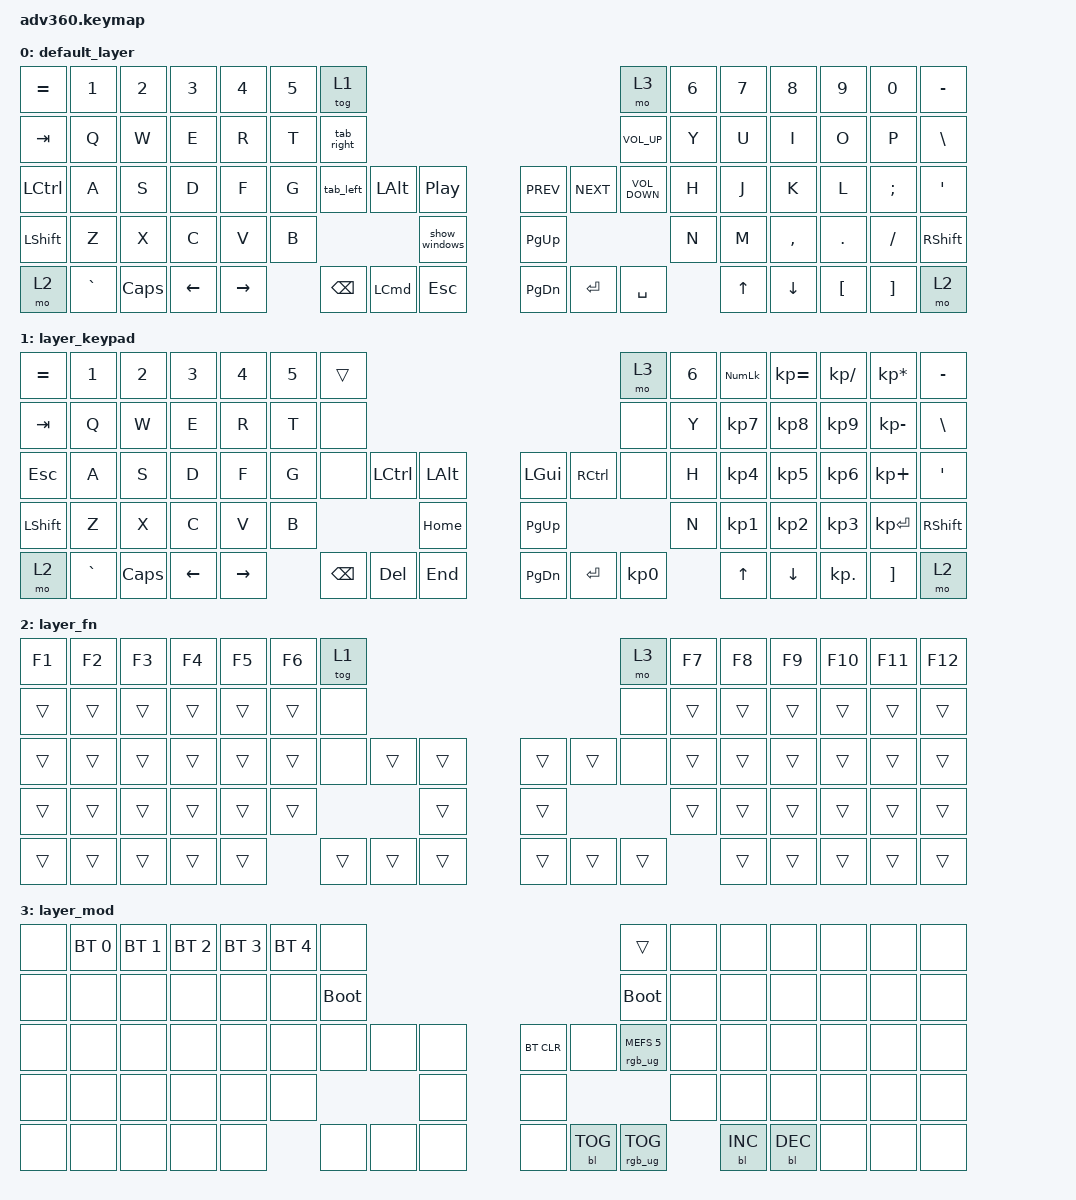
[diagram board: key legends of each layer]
/*
 * Copyright (c) 2020 The ZMK Contributors
 *
 * SPDX-License-Identifier: MIT
 */
/* THIS FILE WAS GENERATED!
 *
 * This file was generated automatically. You may or may not want to
 * edit it directly.
 */

#include <behaviors.dtsi>
#include <dt-bindings/zmk/backlight.h>
#include <dt-bindings/zmk/bt.h>
#include <dt-bindings/zmk/keys.h>
#include <dt-bindings/zmk/rgb.h>

/ {
    behaviors {
        #include "macros.dtsi"
    #include "version.dtsi"

        hm: homerow_mods {
            compatible = "zmk,behavior-hold-tap";
            label = "HOMEROW_MODS";
            #binding-cells = <2>;
            tapping-term-ms = <200>;
            quick_tap_ms = <175>;
            flavor = "tap-preferred";
            bindings = <&kp>, <&kp>;
        };
    };

    macros {
        tab_left: tab_left {
            compatible = "zmk,behavior-macro";
            #binding-cells = <0>;
            bindings =
                <&macro_press &kp LEFT_COMMAND &kp LEFT_SHIFT>,
                <&macro_tap &kp TAB>,
                <&macro_release &kp LEFT_COMMAND &kp LEFT_SHIFT>;

            label = "TAB_LEFT";
        };

        tab_right: tab_right {
            compatible = "zmk,behavior-macro";
            #binding-cells = <0>;
            bindings =
                <&macro_press &kp LEFT_COMMAND>,
                <&macro_tap &kp TAB>,
                <&macro_release &kp LEFT_COMMAND>;

            label = "TAB_RIGHT";
        };

        show_windows: show_windows {
            compatible = "zmk,behavior-macro";
            #binding-cells = <0>;
            bindings =
                <&macro_press &kp LEFT_CONTROL>,
                <&macro_tap &kp UP>,
                <&macro_release &kp LEFT_CONTROL>;

            label = "SHOW_WINDOWS";
        };
    };

    keymap {
        compatible = "zmk,keymap";

        default_layer {
            bindings = <
&kp EQUAL         &kp N1     &kp N2    &kp N3    &kp N4     &kp N5  &tog 1                                                                      &mo 3              &kp N6  &kp N7  &kp N8     &kp N9    &kp N0    &kp MINUS
&kp TAB           &kp Q      &kp W     &kp E     &kp R      &kp T   &tab_right                                                                  &kp C_VOL_UP       &kp Y   &kp U   &kp I      &kp O     &kp P     &kp BSLH
&kp LEFT_CONTROL  &kp A      &kp S     &kp D     &kp F      &kp G   &tab_left   &kp LEFT_ALT      &kp C_PLAY_PAUSE      &kp C_PREV  &kp C_NEXT  &kp C_VOLUME_DOWN  &kp H   &kp J   &kp K      &kp L     &kp SEMI  &kp SQT
&kp LSHFT         &kp Z      &kp X     &kp C     &kp V      &kp B                                 &show_windows         &kp PG_UP                                  &kp N   &kp M   &kp COMMA  &kp DOT   &kp FSLH  &kp RSHFT
&mo 2             &kp GRAVE  &kp CAPS  &kp LEFT  &kp RIGHT          &kp BSPC    &kp LEFT_COMMAND  &kp ESC               &kp PG_DN   &kp ENTER   &kp SPACE                  &kp UP  &kp DOWN   &kp LBKT  &kp RBKT  &mo 2
            >;
        };

        layer_keypad {
            bindings = <
&kp EQUAL  &kp N1     &kp N2    &kp N3    &kp N4     &kp N5  &trans                                                   &mo 3      &kp N6  &kp KP_NUM  &kp KP_EQUAL  &kp KP_DIVIDE  &kp KP_MULTIPLY  &kp MINUS
&kp TAB    &kp Q      &kp W     &kp E     &kp R      &kp T   &none                                                    &none      &kp Y   &kp KP_N7   &kp KP_N8     &kp KP_N9      &kp KP_MINUS     &kp BSLH
&kp ESC    &kp A      &kp S     &kp D     &kp F      &kp G   &none     &kp LCTRL  &kp LALT      &kp LGUI   &kp RCTRL  &none      &kp H   &kp KP_N4   &kp KP_N5     &kp KP_N6      &kp KP_PLUS      &kp SQT
&kp LSHFT  &kp Z      &kp X     &kp C     &kp V      &kp B                        &kp HOME      &kp PG_UP                        &kp N   &kp KP_N1   &kp KP_N2     &kp KP_N3      &kp KP_ENTER     &kp RSHFT
&mo 2      &kp GRAVE  &kp CAPS  &kp LEFT  &kp RIGHT          &kp BSPC  &kp DEL    &kp END       &kp PG_DN  &kp ENTER  &kp KP_N0          &kp UP      &kp DOWN      &kp KP_DOT     &kp RBKT         &mo 2
            >;
        };

        layer_fn {
            bindings = <
&kp F1  &kp F2  &kp F3  &kp F4  &kp F5  &kp F6  &tog 1                                      &mo 3   &kp F7  &kp F8  &kp F9  &kp F10  &kp F11  &kp F12
&trans  &trans  &trans  &trans  &trans  &trans  &none                                       &none   &trans  &trans  &trans  &trans   &trans   &trans
&trans  &trans  &trans  &trans  &trans  &trans  &none   &trans  &trans      &trans  &trans  &none   &trans  &trans  &trans  &trans   &trans   &trans
&trans  &trans  &trans  &trans  &trans  &trans                  &trans      &trans                  &trans  &trans  &trans  &trans   &trans   &trans
&trans  &trans  &trans  &trans  &trans          &trans  &trans  &trans      &trans  &trans  &trans          &trans  &trans  &trans   &trans   &trans
            >;
        };

        layer_mod {
            bindings = <
&none  &bt BT_SEL 0  &bt BT_SEL 1  &bt BT_SEL 2  &bt BT_SEL 3  &bt BT_SEL 4  &none                                                  &trans                  &none  &none       &none       &none  &none  &none
&none  &none         &none         &none         &none         &none         &bootloader                                            &bootloader             &none  &none       &none       &none  &none  &none
&none  &none         &none         &none         &none         &none         &none        &none  &none      &bt BT_CLR  &none       &rgb_ug RGB_MEFS_CMD 5  &none  &none       &none       &none  &none  &none
&none  &none         &none         &none         &none         &none                             &none      &none                                           &none  &none       &none       &none  &none  &none
&none  &none         &none         &none         &none                       &none        &none  &none      &none       &bl BL_TOG  &rgb_ug RGB_TOG                &bl BL_INC  &bl BL_DEC  &none  &none  &none
            >;
        };
    };
};
